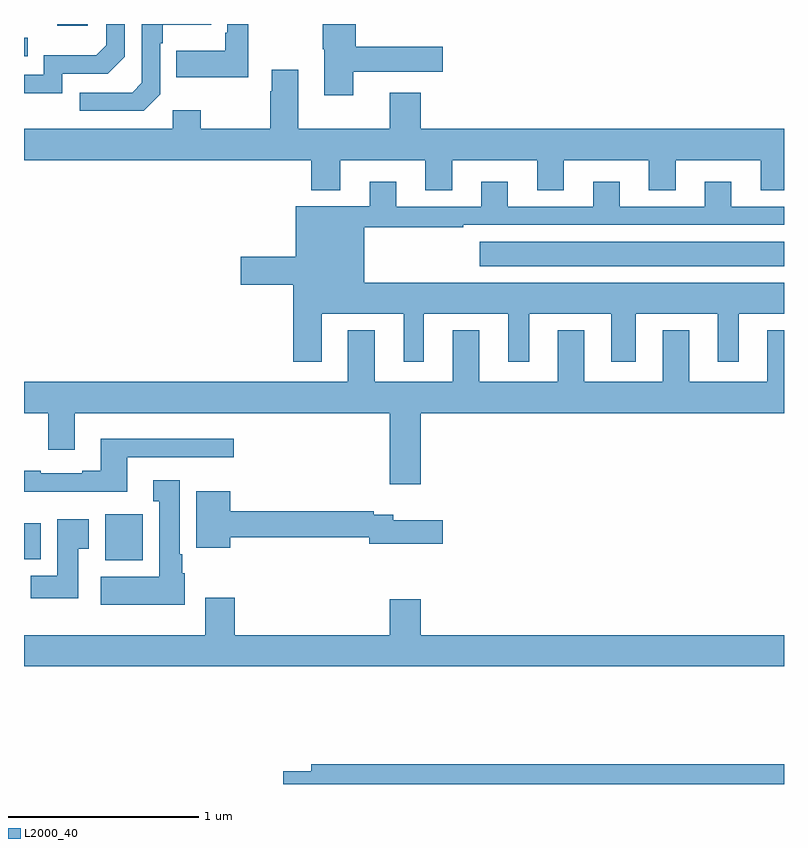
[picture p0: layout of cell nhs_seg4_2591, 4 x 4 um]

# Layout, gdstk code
import gdstk
lib = gdstk.Library(unit=1e-6, precision=1e-09)
def R(c, l, rs):  # rectangles x0, y0, x1, y1
    for r in rs: c.add(gdstk.rectangle(r[:2], r[2:], *l))
def P(c, l, *ps):  # polygons
    for p in ps: c.add(gdstk.Polygon(p, *l))
L2000_40 = (2000, 40)

nhs_seg4_2591 = lib.new_cell('nhs_seg4_2591')
R(nhs_seg4_2591, L2000_40, [(247.427,764.078,247.624,764.32), (247,764.084,247.087,764.272), (249.399,765.626,251,765.754), (247,766.731,247.019,766.827), (247.175,766.892,247.336,766.9)])
P(nhs_seg4_2591, L2000_40, [(248.179,766.9),(248.07,766.9),(248.07,766.855),(248.058,766.855),(248.058,766.759),(247.801,766.759),(247.801,766.619),(248.179,766.619)],
  [(248.734,766.649),(249.205,766.649),(249.205,766.779),(248.747,766.779),(248.747,766.9),(248.572,766.9),(248.572,766.767),(248.579,766.767),(248.579,766.524),(248.734,766.524)],
  [(247.716,766.53),(247.716,766.799),(247.729,766.799),(247.729,766.895),(247.985,766.895),(247.985,766.9),(247.62,766.9),(247.62,766.59),(247.569,766.539),(247.293,766.539),(247.293,766.443),(247.629,766.443)],
  [(247.2,766.638),(247.44,766.638),(247.53,766.728),(247.53,766.9),(247.434,766.9),(247.434,766.788),(247.381,766.735),(247.104,766.735),(247.104,766.632),(247,766.632),(247,766.536),(247.2,766.536)],
  [(249.088,766.537),(248.924,766.537),(248.924,766.348),(248.443,766.348),(248.443,766.66),(248.303,766.66),(248.303,766.547),(248.296,766.547),(248.296,766.348),(247.929,766.348),(247.929,766.447),(247.782,766.447),(247.782,766.348),(247,766.348),(247,766.184),(248.513,766.184),(248.513,766.025),(248.665,766.025),(248.665,766.184),(249.113,766.184),(249.113,766.024),(249.253,766.024),(249.253,766.184),(249.701,766.184),(249.701,766.024),(249.841,766.024),(249.841,766.184),(250.289,766.184),(250.289,766.024),(250.429,766.024),(250.429,766.184),(250.877,766.184),(250.877,766.024),(251,766.024),(251,766.348),(249.088,766.348)],
  [(248.566,765.374),(248.999,765.374),(248.999,765.123),(249.103,765.123),(249.103,765.374),(249.548,765.374),(249.548,765.123),(249.658,765.123),(249.658,765.374),(250.091,765.374),(250.091,765.123),(250.219,765.123),(250.219,765.374),(250.652,765.374),(250.652,765.123),(250.762,765.123),(250.762,765.374),(251,765.374),(251,765.538),(248.791,765.538),(248.791,765.831),(249.311,765.831),(249.311,765.843),(251,765.843),(251,765.939),(250.723,765.939),(250.723,766.069),(250.583,766.069),(250.583,765.939),(250.135,765.939),(250.135,766.069),(249.995,766.069),(249.995,765.939),(249.547,765.939),(249.547,766.069),(249.407,766.069),(249.407,765.939),(248.959,765.939),(248.959,766.069),(248.819,766.069),(248.819,765.94),(248.429,765.94),(248.429,765.674),(248.142,765.674),(248.142,765.527),(248.417,765.527),(248.417,765.123),(248.566,765.123)],
  [(249.088,764.852),(251,764.852),(251,765.289),(250.913,765.289),(250.913,765.016),(250.501,765.016),(250.501,765.289),(250.361,765.289),(250.361,765.016),(249.949,765.016),(249.949,765.289),(249.809,765.289),(249.809,765.016),(249.397,765.016),(249.397,765.289),(249.257,765.289),(249.257,765.016),(248.845,765.016),(248.845,765.289),(248.705,765.289),(248.705,765.016),(247,765.016),(247,764.852),(247.127,764.852),(247.127,764.658),(247.267,764.658),(247.267,764.852),(248.924,764.852),(248.924,764.478),(249.088,764.478)],
  [(247.543,764.619),(248.104,764.619),(248.104,764.716),(247.403,764.716),(247.403,764.548),(247.307,764.548),(247.307,764.535),(247.087,764.535),(247.087,764.548),(247,764.548),(247,764.438),(247.543,764.438)],
  [(247.846,764.01),(247.834,764.01),(247.834,764.11),(247.819,764.11),(247.819,764.5),(247.679,764.5),(247.679,764.387),(247.712,764.387),(247.712,763.99),(247.403,763.99),(247.403,763.844),(247.846,763.844)],
  [(248.086,764.2),(248.816,764.2),(248.816,764.165),(249.205,764.165),(249.205,764.287),(248.944,764.287),(248.944,764.316),(248.84,764.316),(248.84,764.336),(248.086,764.336),(248.086,764.44),(247.907,764.44),(247.907,764.144),(248.086,764.144)],
  [(247.285,764.137),(247.342,764.137),(247.342,764.293),(247.175,764.293),(247.175,763.996),(247.036,763.996),(247.036,763.878),(247.285,763.878)],
  [(251,763.684),(249.088,763.684),(249.088,763.873),(248.924,763.873),(248.924,763.684),(248.108,763.684),(248.108,763.879),(247.955,763.879),(247.955,763.684),(247,763.684),(247,763.52),(251,763.52)],
  [(251,763.004),(248.513,763.004),(248.513,762.968),(248.364,762.968),(248.364,762.9),(251,762.9)])

lib.write_gds('nhs_seg4_2591.gds')
